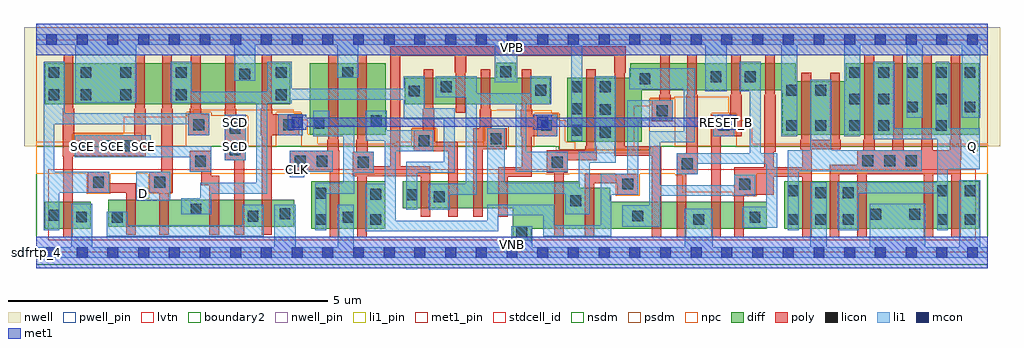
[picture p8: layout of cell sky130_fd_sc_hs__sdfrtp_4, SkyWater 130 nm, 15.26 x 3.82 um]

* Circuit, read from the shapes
.subckt sky130_fd_sc_hs__sdfrtp_4 CLK D Q RESET_B SCD SCE VGND VNB VPB VPWR
XM1 VGND SCE n1 VNB sky130_fd_pr__nfet_01v8_lvt w=0.42 l=0.15
XM2 n2 n1 n3 VNB sky130_fd_pr__nfet_01v8_lvt w=0.42 l=0.15
XM3 n4 D n2 VNB sky130_fd_pr__nfet_01v8_lvt w=0.42 l=0.15
XM4 n5 SCE n4 VNB sky130_fd_pr__nfet_01v8_lvt w=0.42 l=0.15
XM5 n3 SCD n5 VNB sky130_fd_pr__nfet_01v8_lvt w=0.42 l=0.15
XM6 VGND RESET_B n3 VNB sky130_fd_pr__nfet_01v8_lvt w=0.42 l=0.15
XM7 VGND CLK n6 VNB sky130_fd_pr__nfet_01v8_lvt w=0.74 l=0.15
XM8 n7 n6 VGND VNB sky130_fd_pr__nfet_01v8_lvt w=0.74 l=0.15
XM9 n8 n6 n4 VNB sky130_fd_pr__nfet_01v8_lvt w=0.42 l=0.15
XM10 n9 n7 n8 VNB sky130_fd_pr__nfet_01v8_lvt w=0.42 l=0.15
XM11 n10 n11 n9 VNB sky130_fd_pr__nfet_01v8_lvt w=0.42 l=0.15
XM12 VGND RESET_B n10 VNB sky130_fd_pr__nfet_01v8_lvt w=0.42 l=0.15
XM13 n11 n8 VGND VNB sky130_fd_pr__nfet_01v8_lvt w=0.74 l=0.15
XM14 n12 n7 n11 VNB sky130_fd_pr__nfet_01v8_lvt w=0.64 l=0.15
XM15 n13 n6 n12 VNB sky130_fd_pr__nfet_01v8_lvt w=0.42 l=0.15
XM16 VGND n14 n13 VNB sky130_fd_pr__nfet_01v8_lvt w=0.42 l=0.15
XM17 n15 RESET_B VGND VNB sky130_fd_pr__nfet_01v8_lvt w=0.42 l=0.15
XM18 n14 n12 n15 VNB sky130_fd_pr__nfet_01v8_lvt w=0.42 l=0.15
XM19 VGND n12 n16 VNB sky130_fd_pr__nfet_01v8_lvt w=0.74 l=0.15
XM20 Q n16 VGND VNB sky130_fd_pr__nfet_01v8_lvt w=0.74 l=0.15 m=4
XM21 VPWR SCE n1 VPB sky130_fd_pr__pfet_01v8 w=0.64 l=0.15
XM22 n17 SCE VPWR VPB sky130_fd_pr__pfet_01v8 w=0.64 l=0.15
XM23 n4 D n17 VPB sky130_fd_pr__pfet_01v8 w=0.64 l=0.15
XM24 n18 n1 n4 VPB sky130_fd_pr__pfet_01v8 w=0.64 l=0.15
XM25 VPWR SCD n18 VPB sky130_fd_pr__pfet_01v8 w=0.64 l=0.15
XM26 n4 RESET_B VPWR VPB sky130_fd_pr__pfet_01v8 w=0.64 l=0.15
XM27 VPWR CLK n6 VPB sky130_fd_pr__pfet_01v8 w=1.12 l=0.15
XM28 n7 n6 VPWR VPB sky130_fd_pr__pfet_01v8 w=1.12 l=0.15
XM29 n8 n7 n4 VPB sky130_fd_pr__pfet_01v8 w=0.42 l=0.15
XM30 n19 n6 n8 VPB sky130_fd_pr__pfet_01v8 w=0.42 l=0.15
XM31 VPWR n11 n19 VPB sky130_fd_pr__pfet_01v8 w=0.42 l=0.15
XM32 n8 RESET_B VPWR VPB sky130_fd_pr__pfet_01v8 w=0.42 l=0.15
XM33 n11 n8 VPWR VPB sky130_fd_pr__pfet_01v8 w=1 l=0.15
XM34 n12 n6 n11 VPB sky130_fd_pr__pfet_01v8 w=1 l=0.15
XM35 n20 n7 n12 VPB sky130_fd_pr__pfet_01v8 w=0.42 l=0.15
XM36 VPWR n14 n20 VPB sky130_fd_pr__pfet_01v8 w=0.42 l=0.15
XM37 n14 RESET_B VPWR VPB sky130_fd_pr__pfet_01v8 w=0.42 l=0.15
XM38 VPWR n12 n14 VPB sky130_fd_pr__pfet_01v8 w=0.42 l=0.15
XM39 n16 n12 VPWR VPB sky130_fd_pr__pfet_01v8 w=0.84 l=0.15 m=2
XM40 Q n16 VPWR VPB sky130_fd_pr__pfet_01v8 w=1.12 l=0.15 m=4
.ends

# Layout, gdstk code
import gdstk
lib = gdstk.Library(unit=1e-6, precision=1e-09)
def R(c, l, rs):  # rectangles x0, y0, x1, y1
    for r in rs: c.add(gdstk.rectangle(r[:2], r[2:], *l))
def A(c, l, x, y, w, h, nx, ny, dx, dy):  # array of equal rectangles
    R(c, l, [(x+i*dx, y+j*dy, x+i*dx+w, y+j*dy+h) for i in range(nx) for j in range(ny)])
def P(c, l, *ps):  # polygons
    for p in ps: c.add(gdstk.Polygon(p, *l))
nwell_pin = (64, 16)
nwell = (64, 20)
diff = (65, 20)
poly = (66, 20)
licon = (66, 44)
li1_pin = (67, 16)
li1 = (67, 20)
mcon = (67, 44)
met1_pin = (68, 16)
met1 = (68, 20)
stdcell_id = (81, 4)
nsdm = (93, 44)
psdm = (94, 20)
npc = (95, 20)
pwell_pin = (122, 16)
lvtn = (125, 44)
boundary2 = (236, 0)

sky130_fd_sc_hs__sdfrtp_ = lib.new_cell('sky130_fd_sc_hs__sdfrtp_4')
R(sky130_fd_sc_hs__sdfrtp_, nwell_pin, [(0,3.085,14.88,3.33)])
P(sky130_fd_sc_hs__sdfrtp_, nwell, [(15.07,3.52),(-0.19,3.52),(-0.19,1.66),(8.125,1.66),(8.125,1.555),(9.645,1.555),(9.645,1.66),(15.07,1.66)])
R(sky130_fd_sc_hs__sdfrtp_, diff, [(0.135,0.37,0.855,0.79), (4.305,0.37,5.455,1.11), (11.695,0.37,14.745,1.11), (1.125,0.405,4.035,0.825), (4.275,1.84,5.465,2.96), (0.135,2.32,3.975,2.96)])
P(sky130_fd_sc_hs__sdfrtp_, diff, [(8.035,2.735),(7.5,2.735),(7.5,2.97),(7.19,2.97),(7.19,2.735),(5.765,2.735),(5.765,2.315),(8.035,2.315)],
  [(11.425,0.79),(8.975,0.79),(8.975,1.01),(8.5,1.01),(8.5,1.11),(5.73,1.11),(5.73,0.69),(7.45,0.69),(7.45,0.18),(7.74,0.18),(7.74,0.37),(11.425,0.37)],
  [(14.745,2.96),(12.655,2.96),(12.655,2.68),(11.875,2.68),(11.875,2.96),(9.29,2.96),(9.29,2.735),(8.305,2.735),(8.305,1.735),(9.465,1.735),(9.465,2.54),(11.665,2.54),(11.665,1.84),(14.745,1.84)])
P(sky130_fd_sc_hs__sdfrtp_, poly, [(1.56,1.085),(1.14,1.085),(1.14,1.265),(0.81,1.265),(0.81,0.935),(1.41,0.935),(1.41,0.275),(1.56,0.275)],
  [(1.715,2.245),(1.7,2.245),(1.7,3.09),(1.55,3.09),(1.55,2.245),(1.535,2.245),(1.535,1.835),(0.595,1.835),(0.595,2.245),(0.58,2.245),(0.58,3.09),(0.43,3.09),(0.43,2.245),(0.415,2.245),(0.415,1.505),(0.42,1.505),(0.42,0.24),(0.57,0.24),(0.57,1.505),(1.715,1.505)],
  [(2.135,2.245),(2.12,2.245),(2.12,3.09),(1.97,3.09),(1.97,2.245),(1.955,2.245),(1.955,1.265),(1.77,1.265),(1.77,0.935),(1.925,0.935),(1.925,0.275),(2.075,0.275),(2.075,0.935),(2.135,0.935)],
  [(2.705,2.16),(2.585,2.16),(2.585,2.245),(2.57,2.245),(2.57,3.09),(2.42,3.09),(2.42,2.245),(2.405,2.245),(2.405,2.16),(2.375,2.16),(2.375,1.83),(2.705,1.83)],
  [(2.86,1.2),(2.735,1.2),(2.735,1.59),(2.405,1.59),(2.405,1.26),(2.585,1.26),(2.585,1.05),(2.71,1.05),(2.71,0.275),(2.86,0.275)],
  [(3.275,2.11),(3.125,2.11),(3.125,2.245),(3.11,2.245),(3.11,3.09),(2.96,3.09),(2.96,2.245),(2.945,2.245),(2.945,1.44),(3.1,1.44),(3.1,0.275),(3.25,0.275),(3.25,1.44),(3.275,1.44)],
  [(4.115,2.16),(3.695,2.16),(3.695,2.245),(3.68,2.245),(3.68,3.09),(3.53,3.09),(3.53,2.245),(3.515,2.245),(3.515,1.83),(3.53,1.83),(3.53,0.275),(3.68,0.275),(3.68,1.83),(4.115,1.83)],
  [(4.74,1.59),(4.735,1.59),(4.735,1.765),(4.72,1.765),(4.72,3.09),(4.57,3.09),(4.57,1.765),(4.555,1.765),(4.555,1.59),(3.965,1.59),(3.965,1.26),(4.59,1.26),(4.59,0.24),(4.74,0.24)],
  [(6.595,1.735),(6.23,1.735),(6.23,1.915),(6.225,1.915),(6.225,2.24),(6.21,2.24),(6.21,2.865),(6.06,2.865),(6.06,2.24),(6.045,2.24),(6.045,1.915),(5.9,1.915),(5.9,1.585),(6.445,1.585),(6.445,0.56),(6.595,0.56)],
  [(7.355,1.945),(7.115,1.945),(7.115,2.24),(7.1,2.24),(7.1,2.865),(6.95,2.865),(6.95,2.24),(6.935,2.24),(6.935,1.945),(6.835,1.945),(6.835,0.56),(6.985,0.56),(6.985,1.615),(7.355,1.615)],
  [(8.145,2.15),(7.755,2.15),(7.755,2.24),(7.74,2.24),(7.74,2.865),(7.59,2.865),(7.59,2.24),(7.575,2.24),(7.575,1.82),(7.595,1.82),(7.595,1.335),(7.225,1.335),(7.225,0.56),(7.375,0.56),(7.375,1.185),(7.745,1.185),(7.745,1.82),(8.145,1.82)],
  [(8.765,1.66),(8.75,1.66),(8.75,2.865),(8.6,2.865),(8.6,1.66),(8.585,1.66),(8.585,1.595),(7.985,1.595),(7.985,1.245),(8.1,1.245),(8.1,0.24),(8.25,0.24),(8.25,1.245),(8.315,1.245),(8.315,1.445),(8.765,1.445)],
  [(9.415,1.235),(8.575,1.235),(8.575,0.24),(8.725,0.24),(8.725,1.085),(9.085,1.085),(9.085,0.905),(9.415,0.905)],
  [(9.775,1.66),(9.2,1.66),(9.2,2.81),(9.215,2.81),(9.215,3.225),(5.54,3.225),(5.54,1.345),(5.28,1.345),(5.28,1.575),(5.185,1.575),(5.185,1.765),(5.17,1.765),(5.17,3.09),(5.02,3.09),(5.02,1.765),(5.005,1.765),(5.005,1.575),(4.95,1.575),(4.95,1.195),(5.02,1.195),(5.02,0.24),(5.17,0.24),(5.17,1.195),(6.015,1.195),(6.015,0.56),(6.165,0.56),(6.165,1.345),(5.69,1.345),(5.69,3.075),(6.545,3.075),(6.545,2.81),(6.56,2.81),(6.56,2.185),(6.71,2.185),(6.71,2.81),(6.725,2.81),(6.725,3.075),(9.035,3.075),(9.035,2.81),(9.05,2.81),(9.05,1.66),(9.035,1.66),(9.035,1.51),(9.625,1.51),(9.625,0.24),(9.775,0.24)],
  [(9.955,2.38),(9.925,2.38),(9.925,2.465),(9.91,2.465),(9.91,3.09),(9.76,3.09),(9.76,2.465),(9.745,2.465),(9.745,2.38),(9.625,2.38),(9.625,2.05),(9.955,2.05)],
  [(10.345,2.465),(10.33,2.465),(10.33,3.09),(10.18,3.09),(10.18,2.465),(10.165,2.465),(10.165,1.555),(10.015,1.555),(10.015,0.24),(10.165,0.24),(10.165,1.225),(10.345,1.225)],
  [(11.03,2.465),(11.015,2.465),(11.015,3.09),(10.865,3.09),(10.865,2.465),(10.85,2.465),(10.85,2.15),(10.555,2.15),(10.555,0.24),(10.705,0.24),(10.705,1.82),(11.03,1.82)],
  [(12.58,1.765),(12.565,1.765),(12.565,2.81),(12.415,2.81),(12.415,1.765),(12.115,1.765),(12.115,2.81),(11.965,2.81),(11.965,1.765),(11.95,1.765),(11.95,1.615),(11.98,1.615),(11.98,1.335),(11.535,1.335),(11.535,1.575),(11.565,1.575),(11.565,2.465),(11.55,2.465),(11.55,3.09),(11.4,3.09),(11.4,2.465),(11.385,2.465),(11.385,1.335),(10.915,1.335),(10.915,0.24),(11.065,0.24),(11.065,0.9),(11.535,0.9),(11.535,1.185),(11.98,1.185),(11.98,0.24),(12.13,0.24),(12.13,1.615),(12.58,1.615)],
  [(14.465,1.765),(14.45,1.765),(14.45,3.09),(14.3,3.09),(14.3,1.765),(14.285,1.765),(14.285,1.6),(14.015,1.6),(14.015,1.765),(14,1.765),(14,3.09),(13.85,3.09),(13.85,1.765),(13.835,1.765),(13.835,1.6),(13.565,1.6),(13.565,1.765),(13.55,1.765),(13.55,3.09),(13.4,3.09),(13.4,1.765),(13.385,1.765),(13.385,1.6),(13.115,1.6),(13.115,1.765),(13.1,1.765),(13.1,3.09),(12.95,3.09),(12.95,1.765),(12.935,1.765),(12.935,1.6),(12.84,1.6),(12.84,1.375),(12.41,1.375),(12.41,0.24),(12.56,0.24),(12.56,1.225),(12.84,1.225),(12.84,0.24),(12.99,0.24),(12.99,1.225),(13.88,1.225),(13.88,0.24),(14.03,0.24),(14.03,1.225),(14.31,1.225),(14.31,0.24),(14.46,0.24),(14.46,1.45),(14.465,1.45)])
A(sky130_fd_sc_hs__sdfrtp_, licon, 11.755, 0.43, 0.17, 0.17, 3, 1, 0.43, 0)
A(sky130_fd_sc_hs__sdfrtp_, licon, 12.92, 1.35, 0.17, 0.17, 3, 1, 0.34, 0)
A(sky130_fd_sc_hs__sdfrtp_, licon, 0.685, 1.585, 0.17, 0.17, 3, 1, 0.34, 0)
A(sky130_fd_sc_hs__sdfrtp_, licon, 8.815, 1.795, 0.17, 0.17, 1, 3, 0, 0.355)
A(sky130_fd_sc_hs__sdfrtp_, licon, 8.365, 1.825, 0.17, 0.17, 1, 3, 0, 0.34)
A(sky130_fd_sc_hs__sdfrtp_, licon, 12.715, 2.73, 0.17, 0.17, 5, 1, 0.45, 0)
R(sky130_fd_sc_hs__sdfrtp_, licon, [(7.51,0.24,7.68,0.41), (4.365,0.43,4.535,0.6), (5.225,0.43,5.395,0.6), (10.275,0.43,10.445,0.6), (14.085,0.43,14.255,0.6), (14.515,0.43,14.685,0.6), (1.185,0.465,1.355,0.635), (4.795,0.465,4.965,0.635), (11.155,0.465,11.325,0.635), (0.625,0.47,0.795,0.64), (3.305,0.48,3.475,0.65), (9.32,0.485,9.49,0.655), (0.195,0.495,0.365,0.665), (13.045,0.51,13.215,0.68), (13.655,0.51,13.825,0.68), (3.805,0.52,3.975,0.69), (2.415,0.595,2.585,0.765), (8.35,0.725,8.52,0.895), (6.22,0.785,6.39,0.955), (5.79,0.815,5.96,0.985), (5.225,0.825,5.395,0.995), (4.365,0.84,4.535,1.01), (12.185,0.85,12.355,1.02), (12.615,0.85,12.785,1.02), (11.755,0.88,11.925,1.05), (14.085,0.88,14.255,1.05), (14.515,0.88,14.685,1.05), (10.995,0.98,11.165,1.15), (9.165,0.985,9.335,1.155), (0.89,1.015,1.06,1.185), (1.85,1.015,2.02,1.185), (10.095,1.305,10.265,1.475), (5.03,1.325,5.2,1.495), (8.065,1.325,8.235,1.495), (2.485,1.34,2.655,1.51), (4.045,1.34,4.215,1.51), (4.385,1.34,4.555,1.51), (3.025,1.52,3.195,1.69), (5.98,1.665,6.15,1.835), (7.105,1.695,7.275,1.865), (3.025,1.86,3.195,2.03), (7.895,1.9,8.065,2.07), (10.665,1.9,10.835,2.07), (11.73,1.9,11.9,2.07), (12.18,1.9,12.35,2.07), (12.715,1.9,12.885,2.07), (13.165,1.9,13.335,2.07), (14.065,1.9,14.235,2.07), (2.455,1.91,2.625,2.08), (3.865,1.91,4.035,2.08), (4.335,1.935,4.505,2.105), (5.235,1.975,5.405,2.145), (9.705,2.13,9.875,2.3), (13.615,2.19,13.785,2.36), (14.515,2.19,14.685,2.36), (12.715,2.315,12.885,2.485), (13.165,2.315,13.335,2.485), (14.065,2.315,14.235,2.485), (0.195,2.38,0.365,2.55), (0.695,2.38,0.865,2.55), (1.315,2.38,1.485,2.55), (2.185,2.38,2.355,2.55), (3.745,2.38,3.915,2.55), (5.825,2.44,5.995,2.61), (7.805,2.45,7.975,2.62), (11.73,2.45,11.9,2.62), (12.18,2.45,12.35,2.62), (6.325,2.505,6.495,2.675), (9.435,2.63,9.605,2.8), (10.545,2.665,10.715,2.835), (11.08,2.665,11.25,2.835), (3.175,2.705,3.345,2.875), (0.195,2.73,0.365,2.9), (0.695,2.73,0.865,2.9), (1.315,2.73,1.485,2.9), (2.185,2.73,2.355,2.9), (3.745,2.73,3.915,2.9), (4.785,2.73,4.955,2.9), (7.26,2.74,7.43,2.91)])
A(sky130_fd_sc_hs__sdfrtp_, li1_pin, 0.635, 1.58, 0.17, 0.17, 3, 1, 0.48, 0)
R(sky130_fd_sc_hs__sdfrtp_, li1_pin, [(1.595,0.84,1.765,1.01), (3.995,1.21,4.165,1.38), (3.035,1.58,3.205,1.75), (14.555,1.58,14.725,1.75), (3.035,1.95,3.205,2.12)])
R(sky130_fd_sc_hs__sdfrtp_, li1, [(1.565,0.81,2.1,1.265), (2.945,1.44,3.275,2.15), (7.835,1.82,8.145,2.15), (10.585,1.82,10.915,2.15), (3.785,1.83,4.165,2.16)])
P(sky130_fd_sc_hs__sdfrtp_, li1, [(2.565,1.09),(3.445,1.09),(3.445,2.345),(2.105,2.345),(2.105,2.98),(2.435,2.98),(2.435,2.515),(3.615,2.515),(3.615,2.98),(3.995,2.98),(3.995,2.56),(5.745,2.56),(5.745,2.755),(6.075,2.755),(6.075,2.255),(6.545,2.255),(6.545,1.245),(5.96,1.245),(5.96,0.67),(5.79,0.67),(5.79,1.415),(6.375,1.415),(6.375,2.085),(5.745,2.085),(5.745,2.39),(3.995,2.39),(3.995,2.33),(3.615,2.33),(3.615,0.92),(2.735,0.92),(2.735,0.595),(2.27,0.595),(2.27,0.845),(2.565,0.845)],
  [(0.115,2.98),(0.445,2.98),(0.445,2.175),(2.705,2.175),(2.705,1.83),(2.375,1.83),(2.375,2.005),(0.285,2.005),(0.285,1.265),(1.14,1.265),(1.14,0.935),(0.365,0.935),(0.365,0.35),(0.115,0.35)],
  [(10.465,2.52),(10.465,3.245),(8.535,3.245),(8.535,1.745),(8.365,1.745),(8.365,3.245),(7.52,3.245),(7.52,2.66),(7.17,2.66),(7.17,3.245),(5.035,3.245),(5.035,2.73),(4.705,2.73),(4.705,3.245),(3.425,3.245),(3.425,2.685),(3.095,2.685),(3.095,3.245),(1.565,3.245),(1.565,2.345),(0.615,2.345),(0.615,3.245),(0,3.245),(0,3.415),(14.88,3.415),(14.88,3.245),(14.765,3.245),(14.765,2.11),(14.47,2.11),(14.47,3.245),(13.865,3.245),(13.865,2.11),(13.615,2.11),(13.615,3.245),(12.885,3.245),(12.885,1.82),(12.635,1.82),(12.635,3.245),(11.9,3.245),(11.9,1.82),(11.65,1.82),(11.65,3.245),(10.795,3.245),(10.795,2.52)],
  [(10.14,0.085),(10.14,0.68),(10.58,0.68),(10.58,0.085),(12.105,0.085),(12.105,1.1),(12.365,1.1),(12.365,0.085),(13.035,0.085),(13.035,0.76),(13.905,0.76),(13.905,0.085),(14.435,0.085),(14.435,1.13),(14.765,1.13),(14.765,0.085),(14.88,0.085),(14.88,-0.085),(0,-0.085),(0,0.085),(0.545,0.085),(0.545,0.765),(0.875,0.765),(0.875,0.085),(3.725,0.085),(3.725,0.75),(4.055,0.75),(4.055,0.085),(4.715,0.085),(4.715,0.75),(4.965,0.75),(4.965,0.085),(7.43,0.085),(7.43,0.41),(7.76,0.41),(7.76,0.085)],
  [(1.795,1.66),(2.735,1.66),(2.735,1.26),(2.405,1.26),(2.405,1.49),(0.605,1.49),(0.605,1.835),(1.795,1.835)],
  [(3.965,1.59),(4.635,1.59),(4.635,1.26),(4.195,1.26),(4.195,1.18),(3.965,1.18)],
  [(6.205,1.915),(6.205,1.585),(5.62,1.585),(5.62,0.5),(7.055,0.5),(7.055,0.75),(8.1,0.75),(8.1,0.425),(8.825,0.425),(8.825,1.235),(9.245,1.235),(9.245,2.38),(9.955,2.38),(9.955,2.065),(9.415,2.065),(9.415,0.905),(8.995,0.905),(8.995,0.255),(7.93,0.255),(7.93,0.58),(7.225,0.58),(7.225,0.33),(5.145,0.33),(5.145,1.075),(5.45,1.075),(5.45,1.745),(5.155,1.745),(5.155,2.22),(5.485,2.22),(5.485,1.915)],
  [(4.975,0.92),(4.535,0.92),(4.535,0.35),(4.365,0.35),(4.365,1.09),(4.805,1.09),(4.805,1.82),(4.335,1.82),(4.335,2.22),(4.585,2.22),(4.585,1.99),(4.975,1.99),(4.975,1.575),(5.28,1.575),(5.28,1.245),(4.975,1.245)],
  [(11.585,1.555),(11.585,0.385),(11.04,0.385),(11.04,0.715),(11.415,0.715),(11.415,1.385),(10.345,1.385),(10.345,1.225),(10.015,1.225),(10.015,1.555),(11.16,1.555),(11.16,2.52),(11,2.52),(11,2.98),(11.33,2.98),(11.33,1.555)],
  [(7.325,1.09),(8.485,1.09),(8.485,1.575),(8.735,1.575),(8.735,2.755),(9.065,2.755),(9.065,1.405),(8.655,1.405),(8.655,0.595),(8.27,0.595),(8.27,0.92),(7.055,0.92),(7.055,1.945),(7.325,1.945)],
  [(11.755,1.6),(12.1,1.6),(12.1,2.7),(12.43,2.7),(12.43,1.6),(13.85,1.6),(13.85,1.27),(11.925,1.27),(11.925,0.35),(11.755,0.35)],
  [(6.885,2.755),(6.885,2.49),(7.725,2.49),(7.725,2.755),(8.055,2.755),(8.055,2.32),(7.665,2.32),(7.665,1.575),(8.315,1.575),(8.315,1.26),(7.495,1.26),(7.495,2.32),(6.885,2.32),(6.885,0.905),(6.47,0.905),(6.47,0.67),(6.14,0.67),(6.14,1.075),(6.715,1.075),(6.715,2.425),(6.245,2.425),(6.245,2.755)],
  [(9.585,0.735),(9.585,1.895),(10.125,1.895),(10.125,2.55),(9.27,2.55),(9.27,2.88),(10.295,2.88),(10.295,1.725),(9.755,1.725),(9.755,1.055),(10.915,1.055),(10.915,1.215),(11.245,1.215),(11.245,0.885),(9.755,0.885),(9.755,0.405),(9.165,0.405),(9.165,0.735)],
  [(3.225,0.425),(3.225,0.75),(3.555,0.75),(3.555,0.255),(1.105,0.255),(1.105,0.64),(1.435,0.64),(1.435,0.425)],
  [(14.085,0.35),(14.085,0.93),(12.865,0.93),(12.865,0.35),(12.535,0.35),(12.535,1.1),(14.085,1.1),(14.085,1.77),(13.085,1.77),(13.085,2.98),(13.415,2.98),(13.415,1.94),(14.065,1.94),(14.065,2.98),(14.28,2.98),(14.28,1.94),(14.755,1.94),(14.755,1.3),(14.255,1.3),(14.255,0.35)])
A(sky130_fd_sc_hs__sdfrtp_, mcon, 0.155, -0.085, 0.17, 0.17, 31, 2, 0.48, 3.33)
R(sky130_fd_sc_hs__sdfrtp_, mcon, [(3.995,1.95,4.165,2.12), (7.835,1.95,8.005,2.12), (10.715,1.95,10.885,2.12)])
R(sky130_fd_sc_hs__sdfrtp_, met1_pin, [(0,0,14.88,0.245), (10.715,1.95,10.885,2.12), (0,3.085,14.88,3.33)])
R(sky130_fd_sc_hs__sdfrtp_, met1, [(0,-0.245,14.88,0.245), (0,3.085,14.88,3.575)])
P(sky130_fd_sc_hs__sdfrtp_, met1, [(8.065,2.105),(10.655,2.105),(10.655,2.15),(10.945,2.15),(10.945,1.92),(10.655,1.92),(10.655,1.965),(8.065,1.965),(8.065,1.92),(7.775,1.92),(7.775,1.965),(4.225,1.965),(4.225,1.92),(3.935,1.92),(3.935,2.15),(4.225,2.15),(4.225,2.105),(7.775,2.105),(7.775,2.15),(8.065,2.15)])
R(sky130_fd_sc_hs__sdfrtp_, stdcell_id, [(0,0,14.88,3.33)])
P(sky130_fd_sc_hs__sdfrtp_, nsdm, [(14.88,1.66),(9.595,1.66),(9.595,1.605),(8.175,1.605),(8.175,1.66),(0,1.66),(0,-0.19),(14.88,-0.19)])
P(sky130_fd_sc_hs__sdfrtp_, psdm, [(14.88,3.52),(0,3.52),(0,1.66),(0.575,1.66),(0.575,1.865),(1.645,1.865),(1.645,1.66),(2.345,1.66),(2.345,2.19),(2.735,2.19),(2.735,2.14),(3.305,2.14),(3.305,1.66),(3.755,1.66),(3.755,2.19),(4.145,2.19),(4.145,1.66),(5.87,1.66),(5.87,1.945),(6.26,1.945),(6.26,1.66),(6.995,1.66),(6.995,1.975),(7.385,1.975),(7.385,1.66),(7.785,1.66),(7.785,2.18),(8.175,2.18),(8.175,1.605),(9.595,1.605),(9.595,2.41),(9.985,2.41),(9.985,1.66),(10.555,1.66),(10.555,2.18),(10.945,2.18),(10.945,1.66),(14.88,1.66)])
P(sky130_fd_sc_hs__sdfrtp_, npc, [(14.88,1.7),(11.2,1.7),(11.2,2.065),(10.935,2.065),(10.935,2.17),(10.83,2.17),(10.83,2.435),(9.975,2.435),(9.975,2.4),(9.605,2.4),(9.605,2.295),(9.34,2.295),(9.34,1.595),(8.43,1.595),(8.43,1.735),(8.275,1.735),(8.275,2.065),(8.165,2.065),(8.165,2.17),(8.06,2.17),(8.06,2.225),(7.485,2.225),(7.485,2.23),(7.205,2.23),(7.205,2.225),(7.11,2.225),(7.11,1.965),(7.005,1.965),(7.005,1.73),(6.25,1.73),(6.25,1.935),(5.88,1.935),(5.88,1.73),(5.605,1.73),(5.605,1.7),(4.4,1.7),(4.4,1.845),(4.245,1.845),(4.245,2.075),(4.135,2.075),(4.135,2.18),(4.03,2.18),(4.03,2.23),(2.46,2.23),(2.46,2.18),(2.355,2.18),(2.355,2.12),(1.37,2.12),(1.37,1.855),(0.585,1.855),(0.585,1.73),(0,1.73),(0,1.23),(0.79,1.23),(0.79,0.915),(1.16,0.915),(1.16,1.23),(1.75,1.23),(1.75,0.915),(2.12,0.915),(2.12,1.23),(4.93,1.23),(4.93,1.225),(5.3,1.225),(5.3,1.23),(7.965,1.23),(7.965,1.225),(8.335,1.225),(8.335,1.23),(9.065,1.23),(9.065,0.885),(9.435,0.885),(9.435,1.23),(9.995,1.23),(9.995,1.205),(10.1,1.205),(10.1,0.94),(10.895,0.94),(10.895,0.88),(11.265,0.88),(11.265,1.23),(14.88,1.23)])
R(sky130_fd_sc_hs__sdfrtp_, pwell_pin, [(0,0,14.88,0.245)])
R(sky130_fd_sc_hs__sdfrtp_, lvtn, [(0.19,0.19,14.69,1.3)])
R(sky130_fd_sc_hs__sdfrtp_, boundary2, [(0,0,14.88,3.33)])
sky130_fd_sc_hs__sdfrtp_.add(gdstk.Label('sdfrtp_4', (0,0), layer=83, texttype=44))
sky130_fd_sc_hs__sdfrtp_.add(gdstk.Label('VNB', (7.44,0.123), layer=64, texttype=59))
sky130_fd_sc_hs__sdfrtp_.add(gdstk.Label('VPB', (7.44,3.208), layer=64, texttype=5))
sky130_fd_sc_hs__sdfrtp_.add(gdstk.Label('RESET_B', (10.8,2.035), layer=68, texttype=5))
sky130_fd_sc_hs__sdfrtp_.add(gdstk.Label('VGND', (7.44,0.123), layer=68, texttype=5))
sky130_fd_sc_hs__sdfrtp_.add(gdstk.Label('VPWR', (7.44,3.208), layer=68, texttype=5))
sky130_fd_sc_hs__sdfrtp_.add(gdstk.Label('D', (1.68,0.925), layer=67, texttype=5))
sky130_fd_sc_hs__sdfrtp_.add(gdstk.Label('SCE', (0.72,1.665), layer=67, texttype=5))
sky130_fd_sc_hs__sdfrtp_.add(gdstk.Label('SCE', (1.2,1.665), layer=67, texttype=5))
sky130_fd_sc_hs__sdfrtp_.add(gdstk.Label('SCE', (1.68,1.665), layer=67, texttype=5))
sky130_fd_sc_hs__sdfrtp_.add(gdstk.Label('SCD', (3.12,1.665), layer=67, texttype=5))
sky130_fd_sc_hs__sdfrtp_.add(gdstk.Label('SCD', (3.12,2.035), layer=67, texttype=5))
sky130_fd_sc_hs__sdfrtp_.add(gdstk.Label('CLK', (4.08,1.295), layer=67, texttype=5))
sky130_fd_sc_hs__sdfrtp_.add(gdstk.Label('Q', (14.64,1.665), layer=67, texttype=5))

lib.write_gds('sky130_fd_sc_hs__sdfrtp_4.gds')
